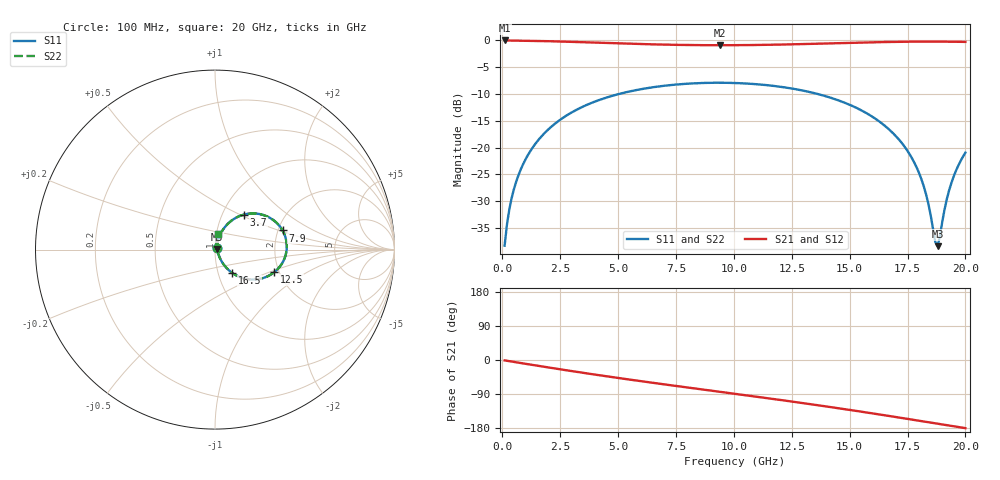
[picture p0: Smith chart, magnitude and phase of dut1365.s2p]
! Touchstone file exported from HFSS 2026.1.0
!  File:  C:/ffzhzh/LocalFiles/Ansys_Project_Files/temp_train_TSV_RDL_1365_1783344839_37376.aedt
!  Generated:  09:47:59 PM Jul  6, 2026
!  Design:  TSV_RDL
!  Project:  temp_train_TSV_RDL_1365_1783344839_37376
! Variables:
!  h_bsmrdl = 4.79um
!  h_ox = 20um
!  h_rdl = 5um
!  h_sub = 71.11um
!  h_tmrdl = 4.32um
!  h_tsv = 71.11um
!  h_via = 3um
!  l_bsmrdl = 364.6um
!  l_sub = 2970.58um
!  l_tmrdl = 330.42um
!  m_sub = 200um
!  pitch = 51.9um
!  r_tsv = 14.5um
!  s_tmrdl = 10um
!  w_bsmrdl = 29.43um
!  w_sub = 500um
!  w_tmrdl = 22.27um
!  x_tsv_center1 = 341.555um
!  x_tsv_center2 = 735.585um
!  x_tsv_center3 = 1088.275um
!  x_tsv_center4 = 1482.305um
!  x_tsv_center5 = 1834.995um
!  x_tsv_center6 = 2229.025um
# GHz S MA R 50.000000
! Terminal data exported
! Port[1] = TM_RDL1_1_T1
! Port[2] = TM_RDL5_1_T1
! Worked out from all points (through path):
!   200 points, 100 MHz to 20 GHz, reference 50 ohm
!   highest |S21| = -0.08 dB at 100 MHz (marker M1); lowest = -1.0 dB at 9.4 GHz (marker M2)
!   group delay of S21, straight-line fit = 24.2 ps
!   lowest |S11| = -38.3 dB at 18.8 GHz (marker M3), VSWR 1.02, Z = 51.2 + j0.39 ohm
!   |S11| at or under -10 dB: start of sweep to 5.069 GHz; 13.59 GHz to end of sweep
!   |S22| runs from -38.3 to -7.9 dB; largest |S21 - S12| = 2.3e-14
!   S11 on the Smith chart (normalised r, x): 100 MHz: 1.02, +0.02; 3.7 GHz: 1.26, +0.52; 7.9 GHz: 2.12, +0.53; 12.5 GHz: 1.89, -0.54; 16.5 GHz: 1.17, -0.31; 20 GHz: 1.01, +0.18
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0.1  0.01222 43.3  0.9912 -1.1  0.9912 -1.1  0.01222 43.3
! Gamma 0 0 0 0
! Port Impedance 50 0 50 0
0.3  0.02636 64.7  0.9897 -3.1  0.9897 -3.1  0.02636 64.7
0.5  0.04088 69.7  0.9885 -5.1  0.9885 -5.1  0.04088 69.7
1.1  0.0847 71.0  0.9846 -11.0  0.9846 -11.0  0.0847 71.0
2.1  0.1551 64.3  0.9744 -20.7  0.9744 -20.7  0.1551 64.3
3.5  0.2413 52.3  0.9543 -33.9  0.9543 -33.9  0.2413 52.3
3.7  0.2521 50.6  0.9512 -35.8  0.9512 -35.8  0.2521 50.6
6.8  0.3712 24.6  0.9086 -62.7  0.9086 -62.7  0.3712 24.6
7.9  0.3914 15.8  0.8997 -71.8  0.8997 -71.8  0.3914 15.8
9.4  0.4008 4.0  0.8951 -84.0  0.8951 -84.0  0.4008 4.0
10.1  0.3981 -1.5  0.896 -89.7  0.896 -89.7  0.3981 -1.5
12.5  0.3542 -20.6  0.9121 -109.6  0.9121 -109.6  0.3542 -20.6
13.4  0.3236 -28.0  0.9222 -117.4  0.9222 -117.4  0.3236 -28.0
16.5  0.1608 -53.6  0.958 -145.7  0.958 -145.7  0.1609 -53.6
16.7  0.1477 -55.1  0.9597 -147.6  0.9597 -147.6  0.1477 -55.1
17.4  0.1001 -59.5  0.9643 -154.4  0.9643 -154.4  0.1001 -59.5
18  0.05788 -60.2  0.9666 -160.2  0.9666 -160.2  0.0579 -60.1
18.3  0.03686 -56.1  0.967 -163.2  0.967 -163.2  0.0369 -55.9
18.7  0.01323 -14.0  0.9669 -167.1  0.9669 -167.1  0.01333 -13.7
18.8  0.0121 18.4  0.9668 -168.1  0.9668 -168.1  0.01222 18.3
19.3  0.04017 78.0  0.9652 -173.0  0.9652 -173.0  0.04021 77.9
20  0.08972 81.0  0.961 -179.8  0.961 -179.8  0.08974 80.9
